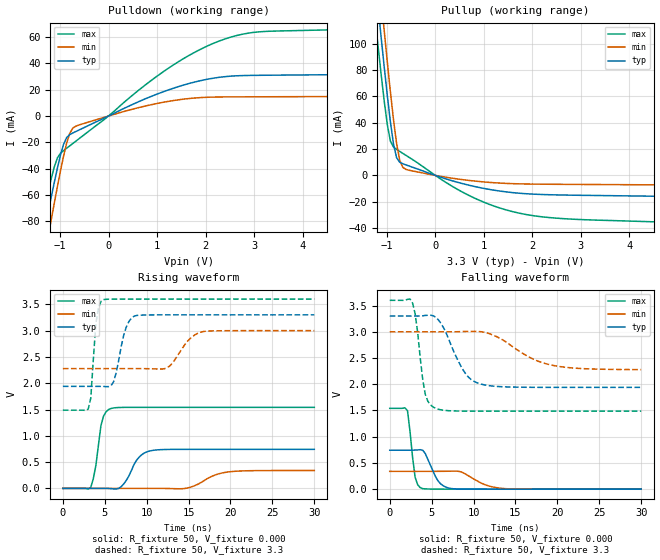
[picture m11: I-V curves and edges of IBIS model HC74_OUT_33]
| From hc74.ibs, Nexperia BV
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|   Model  HC74_OUT_33
[Model]   HC74_OUT_33
Model_type   Output
Polarity   Non-Inverting
Vmeas =  1.65V
Cref  =  5e-11
Rref  =  1e+06
Vref  =  0V
C_comp   1.1666pF   0.8020pF   1.6325pF
[Model Spec]
| Note: The input and output voltage ratings may be exceeded if the input and
|   output current ratings are observed (please refer to the data sheet)
|   Subparameter   typ   min   max
| Timing Thresholds
Vmeas   1.65   1.50   1.80
|Ambient temperature:   25   85   -40
[Temperature Range]   35   95   -30
[Voltage Range]   3.3   3.0   3.6
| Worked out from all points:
|   slope of the pulldown table from 0 to 0.495 V, typ, clamps not added: 56.2 ohm
|   slope of the pullup table from 0 to 0.495 V, typ, clamps not added: 88.3 ohm
|   rising waveform, R_fixture 50, V_fixture 0.000: 20-80 % time 1.55ns typ, 2.54ns min, 823ps max; typ from 0 V to 0.743 V
|   rising waveform, R_fixture 50, V_fixture 3.3: 20-80 % time 1.11ns typ, 1.98ns min, 574ps max; typ from 1.94 V to 3.3 V
|   falling waveform, R_fixture 50, V_fixture 0.000: 20-80 % time 1.34ns typ, 2.46ns min, 644ps max; typ from 0.743 V to 0 V
|   falling waveform, R_fixture 50, V_fixture 3.3: 20-80 % time 2.43ns typ, 4.63ns min, 959ps max; typ from 3.3 V to 1.94 V
|Process Range   nominal   slow   fast
[Pulldown]
|   voltage   I(typ)   I(min)   I(max)
-3.6V     -535.1mA   -603.7mA   -478mA
-1.436V   -109.2mA   -131.9mA   -89.55mA
-1.309V   -85.17mA   -105.2mA   -68.01mA
-1.181V   -61.77mA   -78.99mA   -47.68mA
-1.054V   -39.68mA   -53.73mA   -31.85mA
-926.3mV  -21.48mA   -30.47mA   -26.27mA
-798.7mV  -14.13mA   -13.12mA   -22.66mA
-735mV    -12.87mA   -9.195mA   -20.85mA
1.114V    18.22mA    10.33mA    33.25mA
2.261V    29.28mA    14.44mA    56.66mA
3.217V    30.96mA    14.62mA    64.2mA
7.2V      32.16mA    15.07mA    67.58mA
[Pullup]
|   voltage   I(typ)   I(min)   I(max)
-3.6V     1.077A     1.165A     995mA
-1.245V   151.8mA    184mA      120.3mA
-1.181V   128.1mA    158.8mA    98.2mA
-1.117V   104.9mA    134mA      76.72mA
-1.054V   82.23mA    109.6mA    56.36mA
-926.3mV  40.42mA    63.19mA    26.01mA
-862.5mV  23.65mA    42.13mA    21.56mA
-735mV    10.02mA    11.6mA     18.22mA
-607.5mV  8.002mA    4.565mA    15.27mA
667.5mV   -7.228mA   -3.696mA   -14.76mA
1.815V    -13.78mA   -6.481mA   -29.33mA
7.2V      -17.07mA   -7.71mA    -38.3mA
[Ramp]
| variable   typ   min   max
dV/dt_r  4.4551E-01/1.5385E-09  2.0377E-01/2.5328E-09  9.2441E-01/7.8969E-10
dV/dt_f  4.4551E-01/1.3296E-09  2.0377E-01/2.4591E-09  9.2441E-01/6.1004E-10
R_load = 50
[Rising Waveform]
R_fixture   = 50
V_fixture   = 0.000
V_fixture_min = 0.000
V_fixture_max = 0.000
| time   V(typ)   V(min)   V(max)
0s        4.498pV    895.1pV    208.3fV
3.333ns   -134.2nV   -303.5nV   20.5mV
3.939ns   25.42uV    -297.9nV   436.5mV
4.546ns   109.5uV    -339.1nV   1.196V
5.758ns   -5.384mV   -386.2nV   1.52V
6.97ns    34.31mV    -333.5nV   1.539V
9.091ns   592.6mV    14.73uV    1.541V
10.61ns   719.4mV    107.9uV    1.541V
20ns      742.5mV    317.6mV    1.541V
30ns      742.5mV    339.6mV    1.541V
[Rising Waveform]
R_fixture   = 50
V_fixture   = 3.3
V_fixture_min = 3.0
V_fixture_max = 3.6
| time   V(typ)   V(min)   V(max)
0s        1.94V      2.278V     1.487V
3.03ns    1.94V      2.278V     1.509V
3.333ns   1.94V      2.278V     1.719V
3.939ns   1.94V      2.278V     3.132V
4.849ns   1.938V     2.278V     3.59V
6.061ns   2.03V      2.278V     3.599V
8.485ns   3.273V     2.278V     3.6V
12.42ns   3.3V       2.292V     3.6V
16.67ns   3.3V       2.979V     3.6V
30ns      3.3V       3V         3.6V
[Falling Waveform]
R_fixture   = 50
V_fixture   = 0.000
V_fixture_min = 0.000
V_fixture_max = 0.000
| time   V(typ)   V(min)   V(max)
0s        742.5mV    339.6mV    1.541V
2.121ns   742.2mV    339.6mV    1.495V
3.03ns    744.9mV    339.5mV    226.4mV
3.333ns   747.8mV    339.5mV    85.6mV
3.939ns   741.8mV    339.5mV    9.609mV
5.758ns   159mV      340.1mV    824.6uV
7.273ns   13.41mV    343.1mV    126.2uV
8.485ns   3.577mV    330.6mV    28.47uV
13.33ns   140.7uV    15.81mV    73nV
30ns      2.717nV    11.94uV    208.4fV
[Falling Waveform]
R_fixture   = 50
V_fixture   = 3.3
V_fixture_min = 3.0
V_fixture_max = 3.6
| time   V(typ)   V(min)   V(max)
0s        3.3V       3V         3.6V
2.727ns   3.3V       3V         3.548V
3.03ns    3.3V       3V         3.344V
3.939ns   3.304V     3V         2.088V
4.242ns   3.312V     3V         1.807V
5.455ns   3.281V     3V         1.542V
8.788ns   2.263V     3.005V     1.488V
10.61ns   2.017V     3.005V     1.487V
19.09ns   1.941V     2.373V     1.487V
30ns      1.94V      2.279V     1.487V
